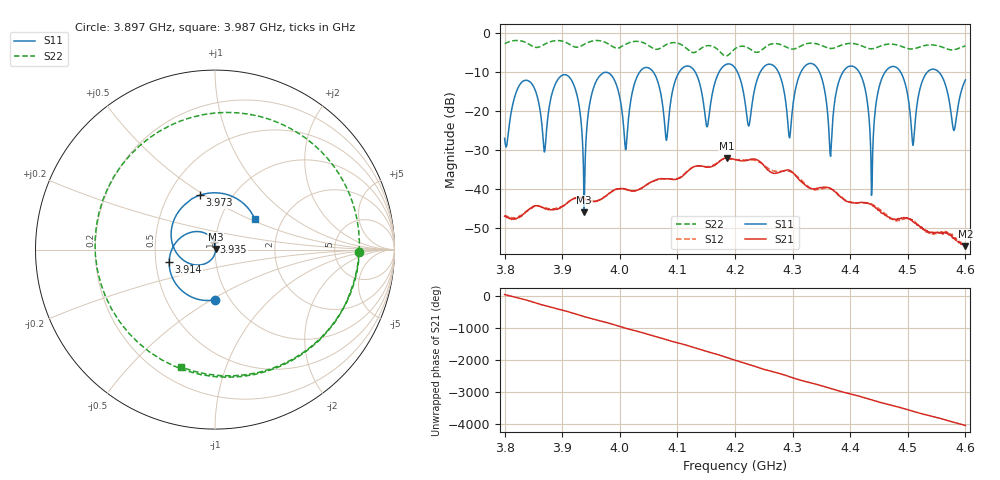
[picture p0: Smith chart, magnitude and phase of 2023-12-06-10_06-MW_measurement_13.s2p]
!Created with skrf (http://scikit-rf.org).
# Hz S RI R 50.0
!freq ReS11 ImS11 ReS21 ImS21 ReS12 ImS12 ReS22 ImS22
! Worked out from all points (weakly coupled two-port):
!   801 points, 3.8 GHz to 4.6 GHz, reference 50 ohm
!   highest |S21| = -32.01 dB at 4.186 GHz (marker M1); lowest = -54.7 dB at 4.6 GHz (marker M2)
!   lowest |S11| = -46.0 dB at 3.938 GHz (marker M3), VSWR 1.01, Z = 50.4 + j0.287 ohm
!   |S11| at or under -10 dB: start of sweep to 3.975 GHz; 3.977 GHz to 4.034 GHz (57.11 MHz wide, 1.43 % of centre); 4.488 GHz to 4.534 GHz (45.86 MHz wide, 1.02 % of centre) (the widest 3 of 10)
!   |S22| runs from -5.8 to -1.8 dB; largest |S21 - S12| = 0.0028
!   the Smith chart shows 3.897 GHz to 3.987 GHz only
!   S11 on the Smith chart (normalised r, x): 3.897 GHz: 0.85, -0.52; 3.914 GHz: 0.59, -0.09; 3.935 GHz: 0.99, +0.09; 3.973 GHz: 0.71, +0.48; 3.987 GHz: 1.45, +0.54
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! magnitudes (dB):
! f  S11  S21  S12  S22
! 3.8 GHz  -27.0  -47.0  -46.8  -2.6
! 3.897 GHz  -11.1  -44.7  -44.6  -1.9
! 3.914 GHz  -11.5  -43.0  -42.9  -2.9
! 3.934 GHz  -24.9  -42.3  -42.2  -3.2
! 3.935 GHz  -27.2  -42.4  -42.2  -3.1
! 3.938 GHz  -46.0  -42.6  -42.4  -2.8
! 3.973 GHz  -10.0  -42.0  -42.2  -2.2
! 3.987 GHz  -11.1  -40.5  -40.6  -3.3
! 4.01 GHz  -29.9  -40.1  -40.0  -2.8
! 4.067 GHz  -12.9  -37.5  -37.6  -4.0
! 4.152 GHz  -24.0  -34.4  -34.3  -3.2
! 4.186 GHz  -7.9  -32.0  -32.3  -5.8
! 4.2 GHz  -8.9  -32.4  -32.4  -4.0
! 4.295 GHz  -26.9  -35.2  -35.5  -3.9
! 4.334 GHz  -7.8  -40.0  -40.0  -2.5
! 4.366 GHz  -31.6  -39.9  -39.9  -3.9
! 4.414 GHz  -9.6  -43.5  -43.6  -2.9
! 4.437 GHz  -41.6  -44.0  -43.8  -4.0
! 4.467 GHz  -8.9  -47.3  -47.2  -2.7
! 4.509 GHz  -28.8  -48.4  -48.1  -4.0
! 4.535 GHz  -9.8  -51.1  -51.1  -3.0
! 4.6 GHz  -12.0  -54.7  -54.6  -3.2
